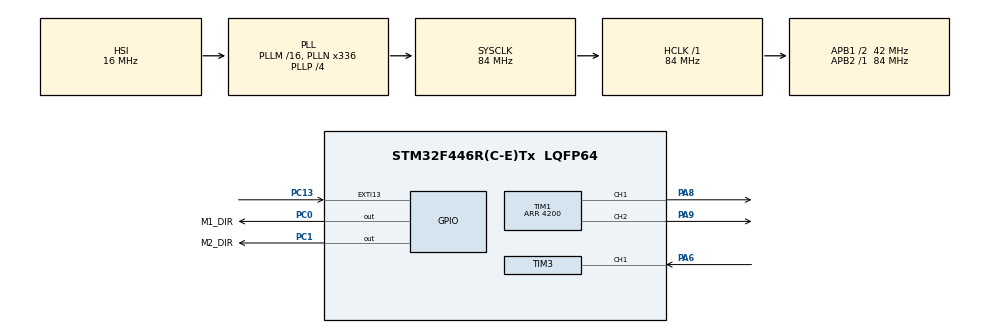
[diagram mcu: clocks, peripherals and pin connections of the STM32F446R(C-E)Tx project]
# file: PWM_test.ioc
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Mcu.Family=STM32F4
Mcu.Name=STM32F446R(C-E)Tx
Mcu.Package=LQFP64
NUCLEO-F446RE.BUTTON=1
NUCLEO-F446RE.LD1=true
NVIC.EXTI15_10_IRQn=true\:0\:0\:false\:false\:true\:false\:true\:true
NVIC.PriorityGroup=NVIC_PRIORITYGROUP_0
NVIC.TIM3_IRQn=true\:0\:0\:false\:false\:true\:true\:true\:true
PA13.GPIO_Label=TMS
PA13.Signal=SYS_JTMS-SWDIO
PA14.GPIO_Label=TCK
PA14.Signal=SYS_JTCK-SWCLK
PA2.GPIO_Label=USART_TX
PA2.Signal=USART2_TX
PA3.GPIO_Label=USART_RX
PA3.Signal=USART2_RX
PA5.Signal=S_TIM2_CH1_ETR
PA6.Signal=S_TIM3_CH1
PA8.Signal=S_TIM1_CH1
PA9.Signal=S_TIM1_CH2
PB3.GPIO_Label=SWO
PB3.Signal=SYS_JTDO-SWO
PC0.GPIO_Label=M1_DIR
PC0.Signal=GPIO_Output
PC1.GPIO_Label=M2_DIR
PC1.Signal=GPIO_Output
PC13.Signal=GPXTI13
PC14-OSC32_IN.Signal=RCC_OSC32_IN
PC15-OSC32_OUT.Signal=RCC_OSC32_OUT
PH0-OSC_IN.Signal=RCC_OSC_IN
PH1-OSC_OUT.Signal=RCC_OSC_OUT
ProjectManager.HeapSize=0x200
ProjectManager.StackSize=0x400
ProjectManager.TargetToolchain=STM32CubeIDE
RCC.AHBFreq_Value=84000000
RCC.APB1CLKDivider=RCC_HCLK_DIV2
RCC.APB1Freq_Value=42000000
RCC.APB1TimFreq_Value=84000000
RCC.APB2Freq_Value=84000000
RCC.APB2TimFreq_Value=84000000
RCC.CortexFreq_Value=84000000
RCC.FLatency-AdvancedSettings=FLASH_LATENCY_2
RCC.HCLKFreq_Value=84000000
RCC.HSE_VALUE=8000000
RCC.HSI_VALUE=16000000
RCC.LSE_VALUE=32768
RCC.PLLN=336
RCC.PLLP=RCC_PLLP_DIV4
RCC.SYSCLKFreq_VALUE=84000000
RCC.SYSCLKSource=RCC_SYSCLKSOURCE_PLLCLK
RCC.USBFreq_Value=168000000
RCC.VCOOutputFreq_Value=336000000
SH.S_TIM1_CH1.0=TIM1_CH1,PWM Generation1 CH1
SH.S_TIM1_CH2.0=TIM1_CH2,PWM Generation2 CH2
SH.S_TIM3_CH1.0=TIM3_CH1,Input_Capture1_from_TI1
TIM1.AutoReloadPreload=TIM_AUTORELOAD_PRELOAD_ENABLE
TIM1.Channel-PWM\ Generation1\ CH1=TIM_CHANNEL_1
TIM1.Channel-PWM\ Generation2\ CH2=TIM_CHANNEL_2
TIM1.Period=4200
TIM2.AutoReloadPreload=TIM_AUTORELOAD_PRELOAD_ENABLE
TIM2.Channel-PWM\ Generation1\ CH1=TIM_CHANNEL_1
TIM2.Period=999
TIM2.Prescaler=83
TIM2.Pulse-PWM\ Generation1\ CH1=500
TIM3.Channel-Input_Capture1_from_TI1=TIM_CHANNEL_1
TIM3.Period=65535
TIM3.Prescaler=83
VP_NUCLEO-F446RE_VS_BSP_COMMON.Mode=COMMON
VP_TIM1_VS_ClockSourceINT.Mode=Internal
VP_TIM2_VS_ClockSourceINT.Mode=Internal
VP_TIM3_VS_ClockSourceINT.Mode=Internal
board=NUCLEO-F446RE

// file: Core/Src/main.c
/* USER CODE BEGIN Header */
/**
  ******************************************************************************
  * @file           : main.c
  * @brief          : Main program body
  ******************************************************************************
  * @attention
  *
  * Copyright (c) 2026 STMicroelectronics.
  * All rights reserved.
  *
  * This software is licensed under terms that can be found in the LICENSE file
  * in the root directory of this software component.
  * If no LICENSE file comes with this software, it is provided AS-IS.
  *
  ******************************************************************************
  */
/* USER CODE END Header */
#include "main.h"

TIM_HandleTypeDef htim1;
TIM_HandleTypeDef htim2;
TIM_HandleTypeDef htim3;

/* USER CODE BEGIN PV */
volatile uint32_t period_us = 0;
volatile uint32_t capture_previous = 0;
volatile uint32_t capture_current = 0;
volatile uint8_t capture_ready = 0;
/* USER CODE END PV */

void SystemClock_Config(void);
static void MX_GPIO_Init(void);
static void MX_TIM2_Init(void);
static void MX_TIM3_Init(void);
static void MX_TIM1_Init(void);

int main(void)
{

  /* MCU Configuration--------------------------------------------------------*/

  /* Reset of all peripherals, Initializes the Flash interface and the Systick. */
  HAL_Init();

  /* Configure the system clock */
  SystemClock_Config();

  /* Initialize all configured peripherals */
  MX_GPIO_Init();
  MX_TIM2_Init();
  MX_TIM3_Init();
  MX_TIM1_Init();
  /* USER CODE BEGIN 2 */
  HAL_TIM_PWM_Start(&htim2, TIM_CHANNEL_1);
  HAL_TIM_IC_Start_IT(&htim3, TIM_CHANNEL_1);
  /* USER CODE END 2 */

  /* Initialize leds */
  BSP_LED_Init(LED2);

  /* Initialize USER push-button, will be used to trigger an interrupt each time it's pressed.*/
  BSP_PB_Init(BUTTON_USER, BUTTON_MODE_EXTI);

  /* Infinite loop */
  while (1)
  {

    /* USER CODE BEGIN 3 */
	  uint32_t current;
	  static uint8_t first_time = 1;
	  uint32_t saved_mask = __get_PRIMASK();

	  if (first_time != 0){
		  __disable_irq();

		  capture_ready = 0;
		  current = capture_current;

		  __set_PRIMASK(saved_mask);

		  capture_previous = current;
		  first_time = 0;
	  }

	  else{
		  if (capture_ready != 0){
			  __disable_irq();

			  capture_ready = 0;
			  current = capture_current;

			  __set_PRIMASK(saved_mask);

			  if (current >= capture_previous) period_us = current - capture_previous;
			  else period_us = (65536U - capture_previous) + current;

			  capture_previous = current;
		  }
	  }

  }
  /* USER CODE END 3 */
}

void SystemClock_Config(void)
{
  RCC_OscInitTypeDef RCC_OscInitStruct = {0};
  RCC_ClkInitTypeDef RCC_ClkInitStruct = {0};

  /** Configure the main internal regulator output voltage
  */
  __HAL_RCC_PWR_CLK_ENABLE();
  __HAL_PWR_VOLTAGESCALING_CONFIG(PWR_REGULATOR_VOLTAGE_SCALE3);

  /** Initializes the RCC Oscillators according to the specified parameters
  * in the RCC_OscInitTypeDef structure.
  */
  RCC_OscInitStruct.OscillatorType = RCC_OSCILLATORTYPE_HSI;
  RCC_OscInitStruct.HSIState = RCC_HSI_ON;
  RCC_OscInitStruct.HSICalibrationValue = RCC_HSICALIBRATION_DEFAULT;
  RCC_OscInitStruct.PLL.PLLState = RCC_PLL_ON;
  RCC_OscInitStruct.PLL.PLLSource = RCC_PLLSOURCE_HSI;
  RCC_OscInitStruct.PLL.PLLM = 16;
  RCC_OscInitStruct.PLL.PLLN = 336;
  RCC_OscInitStruct.PLL.PLLP = RCC_PLLP_DIV4;
  RCC_OscInitStruct.PLL.PLLQ = 2;
  RCC_OscInitStruct.PLL.PLLR = 2;
  if (HAL_RCC_OscConfig(&RCC_OscInitStruct) != HAL_OK)
  {
    Error_Handler();
  }

  /** Initializes the CPU, AHB and APB buses clocks
  */
  RCC_ClkInitStruct.ClockType = RCC_CLOCKTYPE_HCLK|RCC_CLOCKTYPE_SYSCLK
                              |RCC_CLOCKTYPE_PCLK1|RCC_CLOCKTYPE_PCLK2;
  RCC_ClkInitStruct.SYSCLKSource = RCC_SYSCLKSOURCE_PLLCLK;
  RCC_ClkInitStruct.AHBCLKDivider = RCC_SYSCLK_DIV1;
  RCC_ClkInitStruct.APB1CLKDivider = RCC_HCLK_DIV2;
  RCC_ClkInitStruct.APB2CLKDivider = RCC_HCLK_DIV1;

  if (HAL_RCC_ClockConfig(&RCC_ClkInitStruct, FLASH_LATENCY_2) != HAL_OK)
  {
    Error_Handler();
  }
}

static void MX_TIM1_Init(void)
{

  TIM_ClockConfigTypeDef sClockSourceConfig = {0};
  TIM_MasterConfigTypeDef sMasterConfig = {0};
  TIM_OC_InitTypeDef sConfigOC = {0};
  TIM_BreakDeadTimeConfigTypeDef sBreakDeadTimeConfig = {0};

  htim1.Instance = TIM1;
  htim1.Init.Prescaler = 0;
  htim1.Init.CounterMode = TIM_COUNTERMODE_UP;
  htim1.Init.Period = 4200;
  htim1.Init.ClockDivision = TIM_CLOCKDIVISION_DIV1;
  htim1.Init.RepetitionCounter = 0;
  htim1.Init.AutoReloadPreload = TIM_AUTORELOAD_PRELOAD_ENABLE;
  if (HAL_TIM_Base_Init(&htim1) != HAL_OK)
  {
    Error_Handler();
  }
  sClockSourceConfig.ClockSource = TIM_CLOCKSOURCE_INTERNAL;
  if (HAL_TIM_ConfigClockSource(&htim1, &sClockSourceConfig) != HAL_OK)
  {
    Error_Handler();
  }
  if (HAL_TIM_PWM_Init(&htim1) != HAL_OK)
  {
    Error_Handler();
  }
  sMasterConfig.MasterOutputTrigger = TIM_TRGO_RESET;
  sMasterConfig.MasterSlaveMode = TIM_MASTERSLAVEMODE_DISABLE;
  if (HAL_TIMEx_MasterConfigSynchronization(&htim1, &sMasterConfig) != HAL_OK)
  {
    Error_Handler();
  }
  sConfigOC.OCMode = TIM_OCMODE_PWM1;
  sConfigOC.Pulse = 0;
  sConfigOC.OCPolarity = TIM_OCPOLARITY_HIGH;
  sConfigOC.OCNPolarity = TIM_OCNPOLARITY_HIGH;
  sConfigOC.OCFastMode = TIM_OCFAST_DISABLE;
  sConfigOC.OCIdleState = TIM_OCIDLESTATE_RESET;
  sConfigOC.OCNIdleState = TIM_OCNIDLESTATE_RESET;
  if (HAL_TIM_PWM_ConfigChannel(&htim1, &sConfigOC, TIM_CHANNEL_1) != HAL_OK)
  {
    Error_Handler();
  }
  if (HAL_TIM_PWM_ConfigChannel(&htim1, &sConfigOC, TIM_CHANNEL_2) != HAL_OK)
  {
    Error_Handler();
  }
  sBreakDeadTimeConfig.OffStateRunMode = TIM_OSSR_DISABLE;
  sBreakDeadTimeConfig.OffStateIDLEMode = TIM_OSSI_DISABLE;
  sBreakDeadTimeConfig.LockLevel = TIM_LOCKLEVEL_OFF;
  sBreakDeadTimeConfig.DeadTime = 0;
  sBreakDeadTimeConfig.BreakState = TIM_BREAK_DISABLE;
  sBreakDeadTimeConfig.BreakPolarity = TIM_BREAKPOLARITY_HIGH;
  sBreakDeadTimeConfig.AutomaticOutput = TIM_AUTOMATICOUTPUT_DISABLE;
  if (HAL_TIMEx_ConfigBreakDeadTime(&htim1, &sBreakDeadTimeConfig) != HAL_OK)
  {
    Error_Handler();
  }
  HAL_TIM_MspPostInit(&htim1);

}

static void MX_TIM2_Init(void)
{

  TIM_ClockConfigTypeDef sClockSourceConfig = {0};
  TIM_MasterConfigTypeDef sMasterConfig = {0};

  htim2.Instance = TIM2;
  htim2.Init.Prescaler = 83;
  htim2.Init.CounterMode = TIM_COUNTERMODE_UP;
  htim2.Init.Period = 999;
  htim2.Init.ClockDivision = TIM_CLOCKDIVISION_DIV1;
  htim2.Init.AutoReloadPreload = TIM_AUTORELOAD_PRELOAD_ENABLE;
  if (HAL_TIM_Base_Init(&htim2) != HAL_OK)
  {
    Error_Handler();
  }
  sClockSourceConfig.ClockSource = TIM_CLOCKSOURCE_INTERNAL;
  if (HAL_TIM_ConfigClockSource(&htim2, &sClockSourceConfig) != HAL_OK)
  {
    Error_Handler();
  }
  sMasterConfig.MasterOutputTrigger = TIM_TRGO_RESET;
  sMasterConfig.MasterSlaveMode = TIM_MASTERSLAVEMODE_DISABLE;
  if (HAL_TIMEx_MasterConfigSynchronization(&htim2, &sMasterConfig) != HAL_OK)
  {
    Error_Handler();
  }

}

static void MX_TIM3_Init(void)
{

  TIM_ClockConfigTypeDef sClockSourceConfig = {0};
  TIM_MasterConfigTypeDef sMasterConfig = {0};
  TIM_IC_InitTypeDef sConfigIC = {0};

  htim3.Instance = TIM3;
  htim3.Init.Prescaler = 83;
  htim3.Init.CounterMode = TIM_COUNTERMODE_UP;
  htim3.Init.Period = 65535;
  htim3.Init.ClockDivision = TIM_CLOCKDIVISION_DIV1;
  htim3.Init.AutoReloadPreload = TIM_AUTORELOAD_PRELOAD_DISABLE;
  if (HAL_TIM_Base_Init(&htim3) != HAL_OK)
  {
    Error_Handler();
  }
  sClockSourceConfig.ClockSource = TIM_CLOCKSOURCE_INTERNAL;
  if (HAL_TIM_ConfigClockSource(&htim3, &sClockSourceConfig) != HAL_OK)
  {
    Error_Handler();
  }
  if (HAL_TIM_IC_Init(&htim3) != HAL_OK)
  {
    Error_Handler();
  }
  sMasterConfig.MasterOutputTrigger = TIM_TRGO_RESET;
  sMasterConfig.MasterSlaveMode = TIM_MASTERSLAVEMODE_DISABLE;
  if (HAL_TIMEx_MasterConfigSynchronization(&htim3, &sMasterConfig) != HAL_OK)
  {
    Error_Handler();
  }
  sConfigIC.ICPolarity = TIM_INPUTCHANNELPOLARITY_RISING;
  sConfigIC.ICSelection = TIM_ICSELECTION_DIRECTTI;
  sConfigIC.ICPrescaler = TIM_ICPSC_DIV1;
  sConfigIC.ICFilter = 0;
  if (HAL_TIM_IC_ConfigChannel(&htim3, &sConfigIC, TIM_CHANNEL_1) != HAL_OK)
  {
    Error_Handler();
  }

}

static void MX_GPIO_Init(void)
{
  GPIO_InitTypeDef GPIO_InitStruct = {0};

  /* GPIO Ports Clock Enable */
  __HAL_RCC_GPIOC_CLK_ENABLE();
  __HAL_RCC_GPIOH_CLK_ENABLE();
  __HAL_RCC_GPIOA_CLK_ENABLE();
  __HAL_RCC_GPIOB_CLK_ENABLE();

  /*Configure GPIO pin Output Level */
  HAL_GPIO_WritePin(GPIOC, M1_DIR_Pin|M2_DIR_Pin, GPIO_PIN_RESET);

  /*Configure GPIO pins : M1_DIR_Pin M2_DIR_Pin */
  GPIO_InitStruct.Pin = M1_DIR_Pin|M2_DIR_Pin;
  GPIO_InitStruct.Mode = GPIO_MODE_OUTPUT_PP;
  GPIO_InitStruct.Pull = GPIO_NOPULL;
  GPIO_InitStruct.Speed = GPIO_SPEED_FREQ_LOW;
  HAL_GPIO_Init(GPIOC, &GPIO_InitStruct);

  /*Configure GPIO pins : USART_TX_Pin USART_RX_Pin */
  GPIO_InitStruct.Pin = USART_TX_Pin|USART_RX_Pin;
  GPIO_InitStruct.Mode = GPIO_MODE_AF_PP;
  GPIO_InitStruct.Pull = GPIO_NOPULL;
  GPIO_InitStruct.Speed = GPIO_SPEED_FREQ_VERY_HIGH;
  GPIO_InitStruct.Alternate = GPIO_AF7_USART2;
  HAL_GPIO_Init(GPIOA, &GPIO_InitStruct);

}

/* USER CODE BEGIN 4 */
void HAL_TIM_IC_CaptureCallback(TIM_HandleTypeDef *htim){
	if (htim->Instance == TIM3 &&
		htim->Channel == HAL_TIM_ACTIVE_CHANNEL_1) {
		capture_current = HAL_TIM_ReadCapturedValue(htim, TIM_CHANNEL_1);
		capture_ready = 1;
	}
}
/* USER CODE END 4 */

void Error_Handler(void)
{
  __disable_irq();
  while (1)
  {
  }
}
